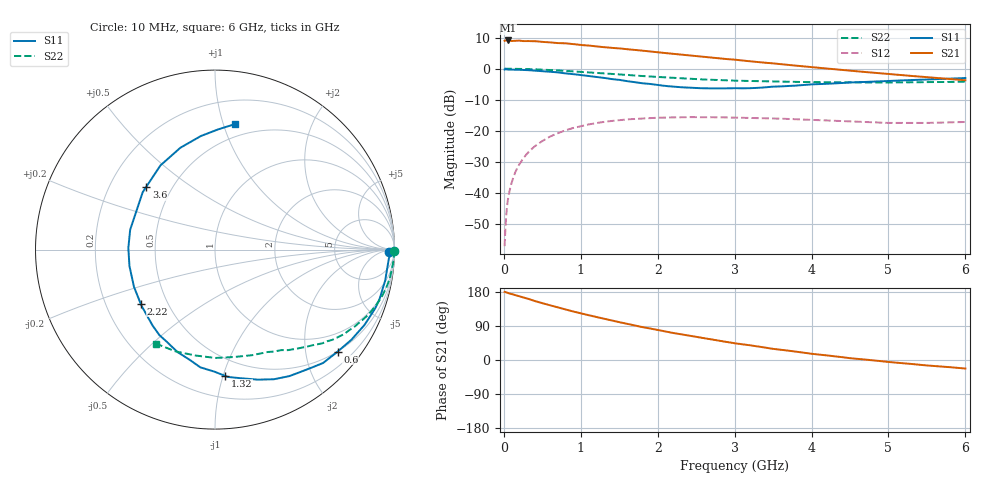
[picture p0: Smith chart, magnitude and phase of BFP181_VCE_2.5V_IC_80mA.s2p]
! Infineon Technologies  Discrete & RF Semiconductors
! BFP181
! VCE = 2.5 V,  IC =  80 mA
! Common Emitter S-Parameters:  Jan 2016
# GHz  S  MA  R  50
!  f  S11  S21  S12  S22
! GHz  MAG  ANG  MAG  ANG  MAG  ANG  MAG  ANG
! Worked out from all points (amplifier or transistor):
!   210 points, 10 MHz to 6 GHz, reference 50 ohm
!   highest |S21| = 9.1 dB at 50 MHz (marker M1)
!   |S21| within 3 dB of that: start of sweep to 1.697 GHz
!   unconditionally stable (mu >= 1): 3.227 GHz to end of sweep
!   at 185 MHz: K = 0.07, MSG = 20.2 dB, |S12| = -31.5 dB
!   at 1.52 GHz: K = 0.50, MSG = 11.5 dB, |S12| = -16.5 dB
!   at 6 GHz: K = 1.33, MAG = 3.3 dB, |S12| = -17.1 dB
!   S11 on the Smith chart (normalised r, x): 10 MHz: 54, -24; 600 MHz: 0.50, -2.68; 1.32 GHz: 0.36, -1.02; 2.22 GHz: 0.35, -0.29; 3.6 GHz: 0.36, +0.34; 6 GHz: 0.39, +1.09
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0.01  0.9696 -0.8  2.803 179.8  0.0014 87.9  0.999 -0.3
0.03  0.9756 -1.8  2.839 178.6  0.0042 91.1  0.9988 -1.0
0.05  0.97 -2.9  2.841 177.0  0.0074 90.7  0.9974 -1.6
0.12  0.9638 -8.2  2.795 172.9  0.0174 83.8  0.9958 -3.8
0.22  0.9579 -14.8  2.804 166.7  0.0315 80.0  0.9903 -7.0
0.4  0.933 -26.7  2.776 155.8  0.0562 72.2  0.9776 -12.6
0.6  0.8887 -39.8  2.651 144.5  0.0809 63.2  0.9526 -18.4
0.8  0.84 -53.0  2.559 133.4  0.1018 54.8  0.9227 -23.8
1.02  0.7865 -66.8  2.393 122.2  0.1204 46.7  0.8847 -29.4
1.1  0.7631 -71.7  2.359 118.1  0.1268 43.9  0.8713 -31.2
1.32  0.7059 -85.4  2.205 108.1  0.1403 36.7  0.8373 -35.9
1.5  0.661 -97.1  2.123 99.8  0.1481 31.7  0.8064 -39.3
1.7  0.6076 -110.2  2.01 91.2  0.1555 26.3  0.775 -43.0
2.02  0.5432 -130.7  1.824 78.3  0.1629 19.2  0.734 -47.9
2.22  0.5121 -144.0  1.724 70.6  0.1651 15.0  0.7106 -51.2
2.62  0.4841 -170.4  1.539 57.0  0.1655 8.2  0.6683 -57.1
3.1  0.4834 161.6  1.353 41.6  0.1623 1.3  0.6371 -64.3
3.6  0.5187 137.6  1.181 27.1  0.1572 -3.5  0.6194 -72.3
4.1  0.5643 119.9  1.033 14.3  0.1486 -6.8  0.6057 -81.7
4.5  0.5996 108.7  0.929 4.8  0.1419 -8.5  0.6037 -89.9
5.1  0.643 95.3  0.801 -6.9  0.1342 -6.7  0.5998 -102.6
6  0.707 81.1  0.651 -22.5  0.1389 -2.5  0.619 -122.3
